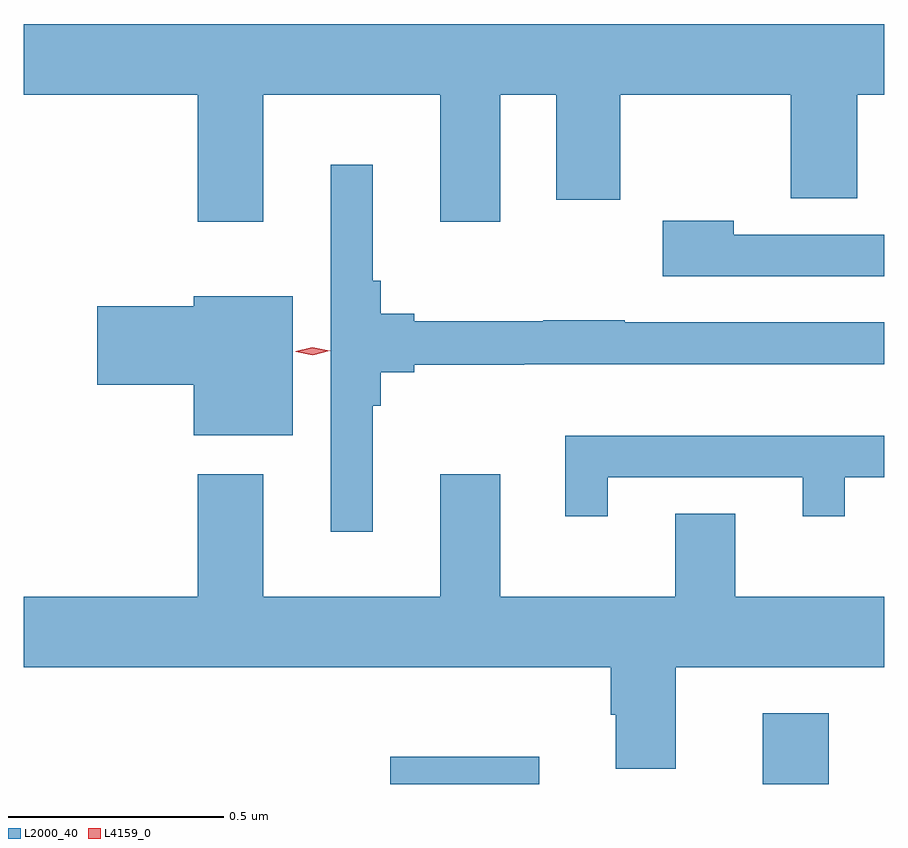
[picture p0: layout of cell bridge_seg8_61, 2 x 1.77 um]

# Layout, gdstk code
import gdstk
lib = gdstk.Library(unit=1e-6, precision=1e-09)
def R(c, l, rs):  # rectangles x0, y0, x1, y1
    for r in rs: c.add(gdstk.rectangle(r[:2], r[2:], *l))
def P(c, l, *ps):  # polygons
    for p in ps: c.add(gdstk.Polygon(p, *l))
L2000_40 = (2000, 40)
L4159_0 = (4159, 0)

bridge_seg8_61 = lib.new_cell('bridge_seg8_61')
R(bridge_seg8_61, L2000_40, [(1098.435,1109.569,1098.781,1109.632), (1099.301,1109.569,1099.454,1109.734)])
P(bridge_seg8_61, L2000_40, [(1098.139,1111.172),(1098.551,1111.172),(1098.551,1110.876),(1098.691,1110.876),(1098.691,1111.172),(1098.821,1111.172),(1098.821,1110.927),(1098.969,1110.927),(1098.969,1111.172),(1099.366,1111.172),(1099.366,1110.931),(1099.52,1110.931),(1099.52,1111.172),(1099.583,1111.172),(1099.583,1111.336),(1097.583,1111.336),(1097.583,1111.172),(1097.987,1111.172),(1097.987,1110.876),(1098.139,1110.876)],
  [(1098.394,1110.449),(1098.413,1110.449),(1098.413,1110.526),(1098.49,1110.526),(1098.49,1110.544),(1098.746,1110.544),(1098.746,1110.545),(1099.583,1110.545),(1099.583,1110.642),(1098.98,1110.642),(1098.98,1110.647),(1098.79,1110.647),(1098.79,1110.645),(1098.49,1110.645),(1098.49,1110.662),(1098.413,1110.662),(1098.413,1110.739),(1098.394,1110.739),(1098.394,1111.009),(1098.297,1111.009),(1098.297,1110.156),(1098.394,1110.156)],
  [(1099.583,1110.846),(1099.233,1110.846),(1099.233,1110.879),(1099.068,1110.879),(1099.068,1110.75),(1099.583,1110.75)],
  [(1098.208,1110.703),(1097.978,1110.703),(1097.978,1110.68),(1097.754,1110.68),(1097.754,1110.497),(1097.978,1110.497),(1097.978,1110.38),(1098.208,1110.38)],
  [(1098.94,1110.282),(1099.394,1110.282),(1099.394,1110.192),(1099.492,1110.192),(1099.492,1110.282),(1099.583,1110.282),(1099.583,1110.379),(1098.842,1110.379),(1098.842,1110.192),(1098.94,1110.192)],
  [(1099.099,1109.84),(1099.583,1109.84),(1099.583,1110.004),(1099.237,1110.004),(1099.237,1110.197),(1099.097,1110.197),(1099.097,1110.004),(1098.691,1110.004),(1098.691,1110.289),(1098.551,1110.289),(1098.551,1110.004),(1098.139,1110.004),(1098.139,1110.289),(1097.987,1110.289),(1097.987,1110.004),(1097.583,1110.004),(1097.583,1109.84),(1098.947,1109.84),(1098.947,1109.73),(1098.959,1109.73),(1098.959,1109.604),(1099.099,1109.604)])
P(bridge_seg8_61, L4159_0, [(1098.255,1110.566),(1098.215,1110.574),(1098.215,1110.575),(1098.215,1110.575),(1098.254,1110.585),(1098.294,1110.576),(1098.295,1110.576),(1098.294,1110.576)])

lib.write_gds('bridge_seg8_61.gds')
